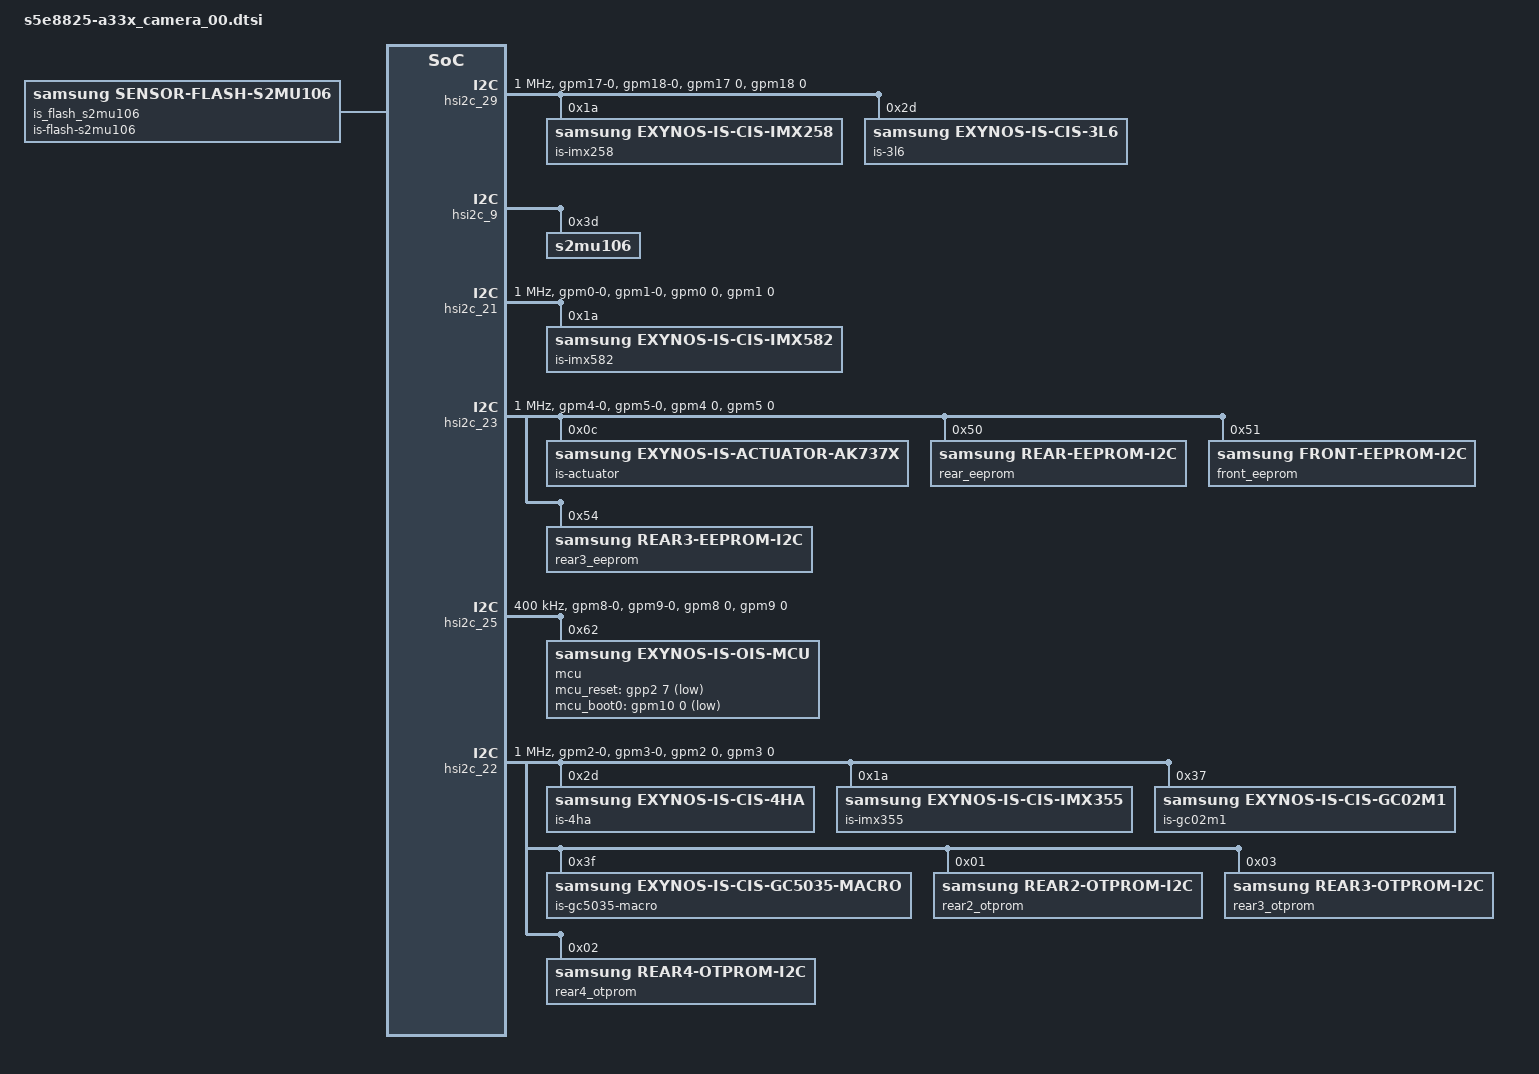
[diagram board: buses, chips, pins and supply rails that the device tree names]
/*
 * Samsung Exynos SoC series Pablo driver
 *
 * Copyright (c) 2021 Samsung Electronics Co., Ltd
 *
 * This program is free software; you can redistribute it and/or modify
 * it under the terms of the GNU General Public License version 2 as
 * published by the Free Software Foundation.
 */

#include <dt-bindings/camera/exynos_is_dt.h>

#include "module_imx582.dtsi"
#include "module_4ha.dtsi"
#include "module_3l6.dtsi"
#include "module_imx355.dtsi"
#include "module_gc02m1.dtsi"
#include "module_imx258.dtsi"
#include "module_gc5035.dtsi"

/ {
	fragment@camera {
		target-path = "/";
		__overlay__ {
			#address-cells = <2>;
			#size-cells = <1>;
			interrupt-parent = <&gic>;

			is_sensor_imx582: is_sensor_imx582@34 {
				power_seq {
					scenario_normal_on {
						40 { pname = "VDDIO_1.8V_CAM"; pin = <PIN_REGULATOR 1 0>; share = <SRT_ACQUIRE SHARED_PIN1 1>; };
					};

					scenario_normal_off {
						80 { pname = "VDDIO_1.8V_CAM"; pin = <PIN_REGULATOR 0 0>; share = <SRT_RELEASE SHARED_PIN1 0>; };
					};

					scenario_ois_factory_on {
						20 { pname = "VDDIO_1.8V_CAM"; pin = <PIN_REGULATOR 1 0>; share = <SRT_ACQUIRE SHARED_PIN1 1>; };
					};

					scenario_ois_factory_off {
						80 { pname = "VDDIO_1.8V_CAM"; pin = <PIN_REGULATOR 0 0>; share = <SRT_RELEASE SHARED_PIN1 0>; };
					};

					scenario_read_rom_on {
						10 { pname = "VDDIO_1.8V_CAM"; pin = <PIN_REGULATOR 1 5000>; share = <SRT_ACQUIRE SHARED_PIN1 1>; };
					};

					scenario_read_rom_off {
						20 { pname = "VDDIO_1.8V_CAM"; pin = <PIN_REGULATOR 0 20000>; share = <SRT_RELEASE SHARED_PIN1 0>; };
					};
				};
			};

			is_sensor_imx355: is_sensor_imx355@20 {
				power_seq {
					scenario_normal_on {
						20 { pname = "VDDIO_1.8V_CAM"; pin = <PIN_REGULATOR 1 2000>; share = <SRT_ACQUIRE SHARED_PIN1 1>; };
						80 { pname = "MCLK"; pin = <PIN_MCLK 1 1000>; gpio = <&gpg0 4 0x1>; share = <SRT_ACQUIRE SHARED_PIN2 1>; };
					};

					scenario_normal_off {
						50 { pname = "VDDIO_1.8V_CAM"; pin = <PIN_REGULATOR 0 0>; share = <SRT_RELEASE SHARED_PIN1 0>; };
						60 { pname = "MCLK"; pin = <PIN_MCLK 0 0>; gpio = <&gpg0 4 0x1>; share = <SRT_RELEASE SHARED_PIN2 0>;};
					};

					scenario_read_rom_on {
						10 { pname = "VDDIO_1.8V_CAM"; pin = <PIN_REGULATOR 1 5000>; share = <SRT_ACQUIRE SHARED_PIN1 1>; };
					};

					scenario_read_rom_off {
						20 { pname = "VDDIO_1.8V_CAM"; pin = <PIN_REGULATOR 0 20000>; share = <SRT_RELEASE SHARED_PIN1 0>; };
					};
				};
			};

			is_sensor_4ha: is_sensor_4ha@5A {
				power_seq {
					scenario_normal_on {
						20 { pname = "VDDIO_1.8V_CAM"; pin = <PIN_REGULATOR 1 2000>; share = <SRT_ACQUIRE SHARED_PIN1 1>; };
						80 { pname = "MCLK"; pin = <PIN_MCLK 1 1000>; gpio = <&gpg0 4 0x1>; share = <SRT_ACQUIRE SHARED_PIN2 1>; };
					};

					scenario_normal_off {
						50 { pname = "VDDIO_1.8V_CAM"; pin = <PIN_REGULATOR 0 0>; share = <SRT_RELEASE SHARED_PIN1 0>; };
						60 { pname = "MCLK"; pin = <PIN_MCLK 0 0>; gpio = <&gpg0 4 0x1>; share = <SRT_RELEASE SHARED_PIN2 0>;};
					};

					scenario_read_rom_on {
						20 { pname = "VDDIO_1.8V_CAM"; pin = <PIN_REGULATOR 1 2000>; share = <SRT_ACQUIRE SHARED_PIN1 1>; };
						80 { pname = "MCLK"; pin = <PIN_MCLK 1 1000>; gpio = <&gpg0 4 0x1>; share = <SRT_ACQUIRE SHARED_PIN2 1>; };
					};

					scenario_read_rom_off {
						50 { pname = "VDDIO_1.8V_CAM"; pin = <PIN_REGULATOR 0 0>; share = <SRT_RELEASE SHARED_PIN1 0>; };
						60 { pname = "MCLK"; pin = <PIN_MCLK 0 0>; gpio = <&gpg0 4 0x1>; share = <SRT_RELEASE SHARED_PIN2 0>;};
					};

				};
			};

			is_sensor_gc02m1: is_sensor_gc02m1@6E {
				power_seq {
					scenario_normal_on {
						20 { pname = "VDDIO_1.8V_CAM"; pin = <PIN_REGULATOR 1 0>; share = <SRT_ACQUIRE SHARED_PIN1 1>; };
						40 { pname = "rcam2_rcam4_ldo_2p8_en"; pin = <PIN_OUTPUT 1 2000>; gpio = <&gpm6 0 0x1>; share = <SRT_ACQUIRE SHARED_PIN4 1>;};
						80 { pname = "MCLK"; pin = <PIN_MCLK 1 500>; gpio = <&gpg0 4 0x1>; share = <SRT_ACQUIRE SHARED_PIN2 1>; };
					};

					scenario_normal_off {
						40 { pname = "rcam2_rcam4_ldo_2p8_en"; pin = <PIN_OUTPUT 0 0>; gpio = <&gpm6 0 0x1>; share = <SRT_RELEASE SHARED_PIN4 0>; };
						50 { pname = "VDDIO_1.8V_CAM"; pin = <PIN_REGULATOR 0 0>; share = <SRT_RELEASE SHARED_PIN1 0>; };
						60 { pname = "MCLK"; pin = <PIN_MCLK 0 200>; gpio = <&gpg0 4 0x1>; share = <SRT_RELEASE SHARED_PIN2 0>;};
					};

					scenario_read_rom_on {
						20 { pname = "VDDIO_1.8V_CAM"; pin = <PIN_REGULATOR 1 0>; share = <SRT_ACQUIRE SHARED_PIN1 1>; };
						40 { pname = "rcam2_rcam4_ldo_2p8_en"; pin = <PIN_OUTPUT 1 2000>; gpio = <&gpm6 0 0x1>; share = <SRT_ACQUIRE SHARED_PIN4 1>;};
						80 { pname = "MCLK"; pin = <PIN_MCLK 1 500>; gpio = <&gpg0 4 0x1>; share = <SRT_ACQUIRE SHARED_PIN2 1>; };
					};

					scenario_read_rom_off {
						40 { pname = "rcam2_rcam4_ldo_2p8_en"; pin = <PIN_OUTPUT 0 0>; gpio = <&gpm6 0 0x1>; share = <SRT_RELEASE SHARED_PIN4 0>; };
						50 { pname = "VDDIO_1.8V_CAM"; pin = <PIN_REGULATOR 0 0>; share = <SRT_RELEASE SHARED_PIN1 0>; };
						60 { pname = "MCLK"; pin = <PIN_MCLK 0 200>; gpio = <&gpg0 4 0x1>; share = <SRT_RELEASE SHARED_PIN2 0>;};
					};

				};
			};

			is_sensor_imx258: is_sensor_imx258@34 {
				power_seq {
					scenario_normal_on {
						30 { pname = "VDDIO_1.8V_CAM"; pin = <PIN_REGULATOR 1 0>; share = <SRT_ACQUIRE SHARED_PIN1 1>; };
						40 { pname = "VDDD_1.2V_SUB"; pin = <PIN_REGULATOR 1 500 1200000>; };
						70 { pname = "MCLK"; pin = <PIN_MCLK 1 500>; gpio = <&gpg0 3 0x1>; share = <SRT_ACQUIRE SHARED_PIN3 1>;};
					};

					scenario_normal_off {
						40 { pname = "MCLK"; pin = <PIN_MCLK 0 0>; gpio = <&gpg0 3 0x1>; share = <SRT_RELEASE SHARED_PIN3 0>; };
						60 { pname = "VDDIO_1.8V_CAM"; pin = <PIN_REGULATOR 0 0>; share = <SRT_RELEASE SHARED_PIN1 0>; };
					};
					scenario_read_rom_on {
						10 { pname = "VDDIO_1.8V_CAM"; pin = <PIN_REGULATOR 1 3000>; share = <SRT_ACQUIRE SHARED_PIN1 1>; };
					};
					scenario_read_rom_off {
						20 { pname = "VDDIO_1.8V_CAM"; pin = <PIN_REGULATOR 0 20000>; share = <SRT_RELEASE SHARED_PIN1 0>; };
					};
				};
			};

			is_sensor_3l6: is_sensor_3l6@5A {
				power_seq {
					scenario_normal_on {
						30 { pname = "VDDIO_1.8V_CAM"; pin = <PIN_REGULATOR 1 0>; share = <SRT_ACQUIRE SHARED_PIN1 1>; };
						40 { pname = "VDDD_1.2V_SUB"; pin = <PIN_REGULATOR 1 1000 1050000>; };
						70 { pname = "MCLK"; pin = <PIN_MCLK 1 500>; gpio = <&gpg0 3 0x1>; share = <SRT_ACQUIRE SHARED_PIN3 1>;};
					};

					scenario_normal_off {
						40 { pname = "MCLK"; pin = <PIN_MCLK 0 0>; gpio = <&gpg0 3 0x1>; share = <SRT_RELEASE SHARED_PIN3 0>; };
						60 { pname = "VDDIO_1.8V_CAM"; pin = <PIN_REGULATOR 0 0>; share = <SRT_RELEASE SHARED_PIN1 0>; };
					};
					scenario_read_rom_on {
						10 { pname = "VDDIO_1.8V_CAM"; pin = <PIN_REGULATOR 1 3000>; share = <SRT_ACQUIRE SHARED_PIN1 1>; };
					};
					scenario_read_rom_off {
						20 { pname = "VDDIO_1.8V_CAM"; pin = <PIN_REGULATOR 0 20000>; share = <SRT_RELEASE SHARED_PIN1 0>; };
					};
				};
			};

			is_sensor_gc5035_macro: is_sensor_gc5035_macro@7E {
				power_seq {
					scenario_normal_on {
						20 { pname = "VDDIO_1.8V_CAM"; pin = <PIN_REGULATOR 1 0>; share = <SRT_ACQUIRE SHARED_PIN1 1>; };
						40 { pname = "rcam2_rcam4_ldo_2p8_en"; pin = <PIN_OUTPUT 1 1000>; gpio = <&gpm6 0 0x1>; share = <SRT_ACQUIRE SHARED_PIN4 1>; };
						80 { pname = "MCLK"; pin = <PIN_MCLK 1 1500>; gpio = <&gpg0 3 0x1>; share = <SRT_ACQUIRE SHARED_PIN3 1>;};
					};

					scenario_normal_off {
						40 { pname = "VDDIO_1.8V_CAM"; pin = <PIN_REGULATOR 0 0>; share = <SRT_RELEASE SHARED_PIN1 0>; };
						50 { pname = "rcam2_rcam4_ldo_2p8_en"; pin = <PIN_OUTPUT 0 0>; gpio = <&gpm6 0 0x1>; share = <SRT_RELEASE SHARED_PIN4 0>; };
						60 { pname = "MCLK"; pin = <PIN_MCLK 0 0>; gpio = <&gpg0 3 0x1>; share = <SRT_RELEASE SHARED_PIN3 0>; };
					};

					scenario_read_rom_on {
						20 { pname = "VDDIO_1.8V_CAM"; pin = <PIN_REGULATOR 1 0>; share = <SRT_ACQUIRE SHARED_PIN1 1>; };
						40 { pname = "rcam2_rcam4_ldo_2p8_en"; pin = <PIN_OUTPUT 1 1000>; gpio = <&gpm6 0 0x1>; share = <SRT_ACQUIRE SHARED_PIN4 1>; };
						80 { pname = "MCLK"; pin = <PIN_MCLK 1 1500>; gpio = <&gpg0 3 0x1>; share = <SRT_ACQUIRE SHARED_PIN3 1>;};
					};

					scenario_read_rom_off {
						40 { pname = "VDDIO_1.8V_CAM"; pin = <PIN_REGULATOR 0 0>; share = <SRT_RELEASE SHARED_PIN1 0>; };
						50 { pname = "rcam2_rcam4_ldo_2p8_en"; pin = <PIN_OUTPUT 0 0>; gpio = <&gpm6 0 0x1>; share = <SRT_RELEASE SHARED_PIN4 0>; };
						60 { pname = "MCLK"; pin = <PIN_MCLK 0 0>; gpio = <&gpg0 3 0x1>; share = <SRT_RELEASE SHARED_PIN3 0>; };
					};

				};
			};

			is_flash_s2mu106: is-flash-s2mu106@0 {
				compatible = "samsung,sensor-flash-s2mu106";
				sensor-module = <&is_sensor_imx582>,<&is_sensor_gc5035_macro>;
				id = <0 3>;
				led_ch = <1 2>;
				status = "okay";
			};

			d_phy_setfile_w_uw: d_phy_setfile_w_uw@00 {
				comm {
					/* bias */
					0  = <0x1000 0 32 0x00000010 IDX_BIA_VAL 0>; /* M_BIAS_CON0 */
					1  = <0x1004 0 32 0x00000110 IDX_BIA_VAL 0>; /* M_BIAS_CON1 */
					2  = <0x1008 0 32 0x00003223 IDX_BIA_VAL 0>; /* M_BIAS_CON2 */
					3  = <0x1010 0 32 0x00000200 IDX_BIA_VAL 0>; /* M_BIAS_CON4 */

					/* clock */
					4 = <0x0004 0 32 0x00001450 IDX_FIX_VAL 0>; /* SC_GNR_CON1 */
					5 = <0x0008 0 32 0x0000000C IDX_FIX_VAL 0>; /* SC_ANA_CON0 */
					6 = <0x000C 0 32 0x0000F343 IDX_FIX_VAL 0>; /* SC_ANA_CON1 */
					7 = <0x0010 0 32 0x00000002 IDX_FIX_VAL 0>; /* SC_ANA_CON2 */
					8 = <0x0014 0 32 0x00008600 IDX_FIX_VAL 0>; /* SC_ANA_CON3 */
					9 = <0x0018 0 32 0x00004000 IDX_FIX_VAL 0>; /* SC_ANA_CON4 */
					10 = <0x0030 0 32 0x00000301 IDX_FIX_VAL 0>; /* SC_TIME_CON0 */
					/* Enable should be set at last. */
					11 = <0x0000 0 32 0x00000001 IDX_FIX_VAL 0>; /* SC_GNR_CON0, Phy clock enable */
				};

				lane {
					0  = <0x0004 0 32 0x00001450 IDX_FIX_VAL 4>; /* SD_GNR_CON1 */
					1  = <0x0008 0 32 0x0000000C IDX_FIX_VAL 4>; /* SD_ANA_CON0 */
					2  = <0x000C 0 32 0x0000F343 IDX_FIX_VAL 4>; /* SD_ANA_CON1 */
					3  = <0x0010 0 32 0x00000002 IDX_FIX_VAL 4>; /* SD_ANA_CON2 */
					4  = <0x0010 8  2 0x00000000 IDX_SKW_DLY 4>; /* SD_ANA_CON2 */
					5  = <0x0014 0 32 0x00008600 IDX_FIX_VAL 4>; /* SD_ANA_CON3 */
					6  = <0x0018 0 32 0x00004000 IDX_FIX_VAL 4>; /* SD_ANA_CON4 */
					7  = <0x0024 0 32 0x00000040 IDX_FIX_VAL 4>; /* SD_ANA_CON7 */
					8  = <0x0030 0  8 0x00000000 IDX_STL_VAL 4>; /* SD_TIME_CON0 */
					9  = <0x0030 8  1 0x00000000 IDX_STL_CLK 4>; /* SD_TIME_CON0 */
					10 = <0x0034 0 32 0x00000003 IDX_FIX_VAL 4>; /* SD_TIME_CON1 */
					11 = <0x0040 0  1 0x00000001 IDX_SKW_CAL 4>; /* SD_DESKEW_CON0 */
					12 = <0x0050 0 32 0x0000081A IDX_FIX_VAL 4>; /* SD_DESKEW_CON4 */
					/* Enable should be set at last. */
					13 = <0x0000 0 32 0x00000001 IDX_FIX_VAL 4>; /* SD_GNR_CON0 , Phy data enable */
				};
			};

			/* REAR CAMERA */
			is_sensor0: is_sensor0@15030000 {
				#address-cells = <1>;
				#size-cells = <1>;
				scenario = <SENSOR_SCENARIO_NORMAL>;	/* Normal, Vision, OIS etc */
				id = <0>;
				csi_ch = <0>;
				status = "okay";
				use_cphy = <0>;

				interrupts = <0 INTREQ__CSIS0 IRQ_TYPE_LEVEL_HIGH>; /*MIPI-CSI0 */
				interrupt-names = "csi";
				phys = <&mipi_phy_csis0_m0s4s4s4s4s2s1 0>;
				phy_setfile = <&d_phy_setfile_w_uw>;
			};

			/* Bokeh CAMERA */
			is_sensor1: is_sensor1@15040000 {
				#address-cells = <1>;
				#size-cells = <1>;
				reg = <0x0 0x15060000 0x1000>, /* MIPI-CSI3 */
					<0x0 0x150F0000 0x10000>; /* PHY: M0S4S4S4S4S2S1 */
				scenario = <SENSOR_SCENARIO_NORMAL>;    /* Normal, Vision, OIS etc */
				id = <2>;
				csi_ch = <3>;
				status = "okay";
				use_cphy = <0>;

				interrupts = <0 INTREQ__CSIS3 IRQ_TYPE_LEVEL_HIGH>; /* MIPI-CSI3 */
				interrupt-names = "csi";
				phys = <&mipi_phy_csis3_m0s4s4s4s4s2s1 0>;
				phy_setfile = <&d_phy_setfile>;
			};

			/* UW CAMERA */
			is_sensor2: is_sensor2@15050000 {
				#address-cells = <1>;
				#size-cells = <1>;
				reg = <0x0 0x15040000 0x1000>, /* MIPI-CSI1 */
					<0x0 0x150F0000 0x10000>; /* PHY: M0S4S4S4S4S2S1 */
				scenario = <SENSOR_SCENARIO_NORMAL>;    /* Normal, Vision, OIS etc */
				id = <4>;
				csi_ch = <1>;
				status = "okay";

				interrupts = <0 INTREQ__CSIS1 IRQ_TYPE_LEVEL_HIGH>; /* MIPI-CSI1 */
				interrupt-names = "csi";
				phys = <&mipi_phy_csis1_m0s4s4s4s4s2s1 0>;
				phy_setfile = <&d_phy_setfile_w_uw>;
			};

			/* Front CAMERA */
			is_sensor4: is_sensor4@15070000 {
				#address-cells = <1>;
				#size-cells = <1>;
				reg = <0x0 0x15050000 0x1000>, /* MIPI-CSI2 */
					<0x0 0x150F0000 0x10000>; /* PHY: M0S4S4S4S4S2S1 */
				scenario = <SENSOR_SCENARIO_NORMAL>;    /* Normal, Vision, OIS etc */
				id = <1>;
				csi_ch = <2>;
				status = "okay";

				interrupts = <0 INTREQ__CSIS2 IRQ_TYPE_LEVEL_HIGH>; /* MIPI-CSI2 */
				phys = <&mipi_phy_csis2_m0s4s4s4s4s2s1 0>;
				phy_setfile = <&d_phy_setfile>;
			};

			/* Macro CAMERA */
			is_sensor3: is_sensor3@15060000 {
				#address-cells = <1>;
				#size-cells = <1>;
				reg = <0x0 0x15070000 0x1000>, /* MIPI-CSI4 */
					<0x0 0x150F0000 0x10000>; /* PHY: M0S4S4S4S4S2S1 */
				scenario = <SENSOR_SCENARIO_NORMAL>;    /* Normal, Vision, OIS etc */
				id = <3>;
				csi_ch = <4>;
				status = "okay";

				interrupts = <0 INTREQ__CSIS4 IRQ_TYPE_LEVEL_HIGH>; /* MIPI-CSI2 */
				phys = <&mipi_phy_csis4_m0s4s4s4s4s2s1 0>;
				phy_setfile = <&phy_setfile_e>;
			};
		}; /* end of __overlay__ */
	}; /* end of fragment */
}; /* end of root */

/***** reference symbol node *****/
/* GPIO_PERI */
&pinctrl_1 {
	/* FRONT I2C */
	hsi2c29_bus_in: hsi2c29-bus-in {
		samsung,pins = "gpm17-0", "gpm18-0";
		samsung,pin-function = <0>; /* 0: Input, 1: Output */
		samsung,pin-pud = <0>;      /* 0: NP, 1: PD, 2: Reserved, 3: PU */
		samsung,pin-drv = <0>;      /* 0: x1, 1: x2, 2: x3, 3: x4 */
	};

	/* REAR I2C */
	hsi2c21_bus_in: hsi2c21-bus-in {
		samsung,pins = "gpm0-0", "gpm1-0";
		samsung,pin-function = <0>; /* 0: Input, 1: Output */
		samsung,pin-pud = <0>;      /* 0: NP, 1: PD, 2: Reserved, 3: PU */
		samsung,pin-drv = <0>;      /* 0: x1, 1: x2, 2: x3, 3: x4 */
	};

	/* BOKEH_UW_MACRO I2C */
	hsi2c22_bus_in: hsi2c22-bus-in {
		samsung,pins = "gpm2-0", "gpm3-0";
		samsung,pin-function = <0>; /* 0: Input, 1: Output */
		samsung,pin-pud = <0>;      /* 0: NP, 1: PD, 2: Reserved, 3: PU */
		samsung,pin-drv = <0>;      /* 0: x1, 1: x2, 2: x3, 3: x4 */
	};

	/* AF_EEP I2C */
	hsi2c23_bus_in: hsi2c23-bus-in {
		samsung,pins = "gpm4-0", "gpm5-0";
		samsung,pin-function = <0>; /* 0: Input, 1: Output */
		samsung,pin-pud = <0>;      /* 0: NP, 1: PD, 2: Reserved, 3: PU */
		samsung,pin-drv = <0>;      /* 0: x1, 1: x2, 2: x3, 3: x4 */
	};

	/* MCU I2C */
	hsi2c25_bus: hsi2c25-bus {
		samsung,pins = "gpm8-0", "gpm9-0";
		samsung,pin-function = <2>;
		samsung,pin-pud = <3>;
		samsung,pin-drv = <0>;
	};

	ldo_gpio_en: ldo-gpio-en {
		samsung,pins = "gpm6-0", "gpm11-0", "gpm19-0";
		samsung,pin-function = <0>; /* 0: Input, 1: Output */
		samsung,pin-pud = <1>;      /* 0: NP, 1: PD, 2: Reserved, 3: PU */
		samsung,pin-con-pdn = <2>;  /* 0: Output0, 1: Output1, 2: Input, 3:Prev */
		samsung,pin-pud-pdn = <1>;  /* 0: NP, 1: PD, 2: Reserved, 3: PU */
	};

	fcam_rcam4_rst_n: fcam-rcam4-rst-n {
		samsung,pins = "gpm13-0", "gpm20-0";
		samsung,pin-function = <1>; /* 0: Input, 1: Output */
		samsung,pin-pud = <1>;      /* 0: NP, 1: PD, 2: Reserved, 3: PU */
		samsung,pin-con-pdn = <0>;  /* 0: Output0, 1: Output1, 2: Input, 3:Prev */
		samsung,pin-pud-pdn = <1>;  /* 0: NP, 1: PD, 2: Reserved, 3: PU */
	};
};

&hsi2c_29 {
	#address-cells = <1>;
	#size-cells = <0>;
	gpios = <&gpm17 0 0 &gpm18 0 0>;
	status = "okay";
	clock-frequency = <1000000>;
	samsung,reset-before-trans;
	samsung,fast-plus-mode;

	pinctrl-names = "default","on_i2c","off_i2c";
	pinctrl-0 = <&hsi2c29_bus_in>;
	pinctrl-1 = <&hsi2c29_bus>;
	pinctrl-2 = <&hsi2c29_bus_in>;

	is-imx258@1A {
		compatible = "samsung,exynos-is-cis-imx258";
		sensor-module = <&is_sensor_imx258>;
		reg = <0x1A>; /* 1 bit right shift */
		id = <1>; /* matching is_sensor id */
		sensor_f_number = <220>;	/* f number 2.2 */
		setfile = "setB";
		use_initial_ae; /* for initial AE of face unlock */
		status = "okay";
	};

	is-3l6@5A{
		compatible = "samsung,exynos-is-cis-3l6";
		sensor-module = <&is_sensor_3l6>;
		reg = <0x2D>; /* 1 bit right shift */
		id = <1>; /* matching is_sensor id */
		sensor_f_number = <220>;	/* f number 2.2 */
		use_initial_ae; /* for initial AE of face unlock */
		setfile = "setB";
		status = "okay";
	};
};

&pinctrl_4 {
	rcam3_ldo_en: rcam3-ldo-en {
		samsung,pins = "gpf0-1";
		samsung,pin-function = <0>; /* 0: Input, 1: Output */
		samsung,pin-pud = <1>;      /* 0: NP, 1: PD, 2: Reserved, 3: PU */
		samsung,pin-con-pdn = <2>;  /* 0: Output0, 1: Output1, 2: Input, 3:Prev */
		samsung,pin-pud-pdn = <1>;  /* 0: NP, 1: PD, 2: Reserved, 3: PU */
	};
};

&pinctrl_6 {
	flash_off_state: flash_off_state {
		samsung,pins = "gpp2-3";
		samsung,pin-con-pdn = <3>;  /* 0: Output0, 1: Output1, 2: Input, 3:Prev */
		samsung,pin-pud-pdn = <0>;  /* 0: NP, 1: PD, 2: Reserved, 3: PU */
	};

	cam_flash_en: cam-flash-en {
		samsung,pins = "gpp2-2", "gpp2-3";
		samsung,pin-function = <1>; /* 0: Input, 1: Output */
		samsung,pin-pud = <1>;      /* 0: NP, 1: PD, 2: Reserved, 3: PU */
		samsung,pin-con-pdn = <3>;  /* 0: Output0, 1: Output1, 2: Input, 3:Prev */
		samsung,pin-pud-pdn = <0>;  /* 0: NP, 1: PD, 2: Reserved, 3: PU */
	};

	mcu_n_rst: mcu-n-rst {
		samsung,pins = "gpp2-7";
		samsung,pin-function = <1>; /* 0: Input, 1: Output */
		samsung,pin-pud = <3>;      /* 0: NP, 1: PD, 2: Reserved, 3: PU */
		samsung,pin-con-pdn = <0>;  /* 0: Output0, 1: Output1, 2: Input, 3:Prev */
		samsung,pin-pud-pdn = <3>;  /* 0: NP, 1: PD, 2: Reserved, 3: PU */
	};

	rcam1_rcam2_rcam3_rst_n: rcam1-rcam2-rcam3-rst-n {
		samsung,pins = "gpg1-0", "gpg1-1", "gpg1-2";
		samsung,pin-function = <1>; /* 0: Input, 1: Output */
		samsung,pin-pud = <1>;      /* 0: NP, 1: PD, 2: Reserved, 3: PU */
		samsung,pin-con-pdn = <0>;  /* 0: Output0, 1: Output1, 2: Input, 3:Prev */
		samsung,pin-pud-pdn = <1>;  /* 0: NP, 1: PD, 2: Reserved, 3: PU */
	};
};

/* FLASH-LED : leds-s2mu106 */
&hsi2c_9 {
	s2mu106@3D {
		reg = <0x3D>;
		pinctrl-names = "default","flash_suspend";
		pinctrl-1 = <&flash_off_state>;
		flash_led {
			default_current = <50>;
			max_current = <200>;
			default_timer = <0>;
			flash-gpio = <&gpp2 2 0>;
			torch-gpio = <&gpp2 3 0>;

			flash_current = <1500>;
			preflash_current = <220>;
			torch_current = <150>;
			movie_current = <200>;
			factory_current = <350>;
			flashlight_current = <50 80 110 140 170>;
			status = "okay";
		};
	};
};

&hsi2c_21 {
	#address-cells = <1>;
	#size-cells = <0>;
	gpios = <&gpm0 0 0 &gpm1 0 0>;
	status = "okay";
	clock-frequency = <1000000>;
	samsung,reset-before-trans;
	samsung,fast-plus-mode;

	pinctrl-names = "default","on_i2c","off_i2c";
	pinctrl-0 = <&hsi2c21_bus_in>;
	pinctrl-1 = <&hsi2c21_bus>;
	pinctrl-2 = <&hsi2c21_bus_in>;

	is-imx582@1A {
		compatible = "samsung,exynos-is-cis-imx582";
		sensor-module = <&is_sensor_imx582>;
		reg = <0x1A>; /* 1 bit right shift */
		id = <0>; /* matching is_sensor id */
		sensor_f_number = <180>;	/* f number 1.8 */
		setfile = "setB";
		status = "okay";
	};
};

&hsi2c_23 {
	#address-cells = <1>;
	#size-cells = <0>;
	gpios = <&gpm4 0 0 &gpm5 0 0>;
	status = "okay";
	clock-frequency = <1000000>;
	samsung,reset-before-trans;
	samsung,fast-plus-mode;

	pinctrl-names = "default","on_i2c","off_i2c";
	pinctrl-0 = <&hsi2c23_bus_in>;
	pinctrl-1 = <&hsi2c23_bus>;
	pinctrl-2 = <&hsi2c23_bus_in>;

	is-actuator@0C {
		compatible = "samsung,exynos-is-actuator-ak737x";
		sensor-module = <&is_sensor_imx582>;
		reg = <0x0C>;
		id = <0>; /* matching is_sensor id */
		/* DW9825A */
		vendor_product_id = <0xF3 0x0E 0xF3 0x00 0xF3 0x19 0xF3 0x13>;
		vendor_first_pos = <960>;  /* 12bits */
		vendor_first_delay = <2000>;
		vendor_use_sleep_mode;
		vendor_use_standby_mode; /* with vendor_use_sleep_mode */
		/* delay settings for DW9825A */
		vendor_sleep_to_standby_delay = <3000>;
		vendor_active_to_standby_delay = <300>;
		status = "okay";
	};

	rear_eeprom@50 { /* Rear Wide eeprom */
		compatible = "samsung,rear-eeprom-i2c";
		reg = <0x50>;

		rom_power_position = <0>;
		rom_size = <0x4190>;
		cal_map_es_version = <1>;
		camera_module_es_version = "A";
		/* skip_cal_loading;*/

		/* 0 header */
		header_crc_check_list = <0x0000 0x00FB 0x00FC>;
		
		/*
		 * 1 Cross talk
		 * 2 AF
		 * 3 PDAF
		 * 4 AWB
		 * 5 LSC
		 */
		crc_check_list = <0x01D0 0x103B 0x103C
				0x14A0 0x151B 0x151C
				0x1520 0x1CDB 0x1CDC
				0x2570 0x258B 0x258C
				0x2590 0x298B 0x298C>;

		/* Master */
		rom_header_version_start_addr = <0x6E>;
		rom_header_cal_data_start_addr = <0x100>;
		rom_header_cal_map_ver_start_addr = <0x90>;
		rom_header_project_name_start_addr = <0x98>;
		rom_header_module_id_addr = <0xAE>; /* 0xA8 + reserved bytes */
		rom_header_sensor_id_addr = <0xB8>;
		rom_awb_master_addr = <0x2570>;

		rom_af_cal_addr = <0x14AC 0x14A0>; /*AF position <Near Far> */

		/* Rear Crosstalk Cal data */
		rom_xtc_cal_data_start_addr = <0x01D0>;
		rom_xtc_cal_data_size = <0x0E6C>;
		rom_xtc_cal_data_addr_list = <0x01D0 0x0350>;

		/* standard cal */
		use_standard_cal;
		rom_standard_cal_start_addr = <0x2570>;
		rom_standard_cal_end_addr = <0x298F>;
		rom_standard_cal_sec2lsi_end_addr = <0x2BAF>;
		rom_awb_start_addr = <0x2570>;
		rom_awb_end_addr = <0x2577>;
		rom_shading_start_addr = <0x2590>;
		rom_shading_end_addr = <0x298B>;
		rom_factory_start_addr = <0x2990>;
		rom_factory_end_addr = <0x2BAF>;
		rom_awb_sec2lsi_start_addr = <0x2570>;
		rom_awb_sec2lsi_end_addr = <0x2577>;
		rom_awb_sec2lsi_checksum_addr = <0x257C>;
		rom_awb_sec2lsi_checksum_len = <0xC>;
		rom_shading_sec2lsi_start_addr = <0x2580>;
		rom_shading_sec2lsi_end_addr = <0x3F67>;
		rom_shading_sec2lsi_checksum_addr = <0x3F6C>;
		rom_shading_sec2lsi_checksum_len = <0x19EC>;
		rom_factory_sec2lsi_start_addr = <0x3F70>;

		/* sensor ois - xgg ygg xcoef ycoef xsupper ysupper calmark */
		rom_ois_list = <0x0180 0x0184 0x018C 0x018E 0x01A8 0x01AA 0x01A0>;
	};

	front_eeprom@51 { /* Front EEPROM */
		compatible = "samsung,front-eeprom-i2c";
		reg = <0x51>;
		rom_power_position = <1>;
		rom_size = <0x1CA8>;
		cal_map_es_version = <1>;
		camera_module_es_version = "A";
		/* skip_cal_loading; */

		/* 0 header */
		header_crc_check_list = <0x0000 0x004B 0x004C>;
		/* 0 cross-talk */
		/* 1 standard cal */
		crc_check_list = <0x0050 0x0485 0x0486>;
		/* Master */
		rom_header_version_start_addr = <0x0A>;
		rom_header_cal_data_start_addr = <0x050>;
		rom_header_cal_map_ver_start_addr = <0x16>;
		rom_header_project_name_start_addr = <0x1E>;
		rom_header_module_id_addr = <0x2E>; /* 0x28 + reserved bytes */
		rom_header_sensor_id_addr = <0x38>;
		rom_awb_master_addr = <0x0068>;

		/* standard cal */
		use_standard_cal;
		rom_standard_cal_start_addr = <0x0068>;
		rom_standard_cal_end_addr = <0x1A67>;
		rom_standard_cal_sec2lsi_end_addr = <0x1CA7>;
		rom_awb_start_addr = <0x0068>;
		rom_awb_end_addr = <0x006F>;
		rom_shading_start_addr = <0x007C>;
		rom_shading_end_addr = <0x0485>;
		rom_factory_start_addr = <0x048A>;
		rom_factory_end_addr = <0x06C9>;
		rom_awb_sec2lsi_start_addr = <0x0068>;
		rom_awb_sec2lsi_end_addr = <0x0073>;
		rom_awb_sec2lsi_checksum_addr = <0x0074>;
		rom_awb_sec2lsi_checksum_len = <0xC>;
		rom_shading_sec2lsi_start_addr = <0x0078>;
		rom_shading_sec2lsi_end_addr = <0x1A63>;
		rom_shading_sec2lsi_checksum_addr = <0x1A64>;
		rom_shading_sec2lsi_checksum_len = <0x19EC>;
		rom_factory_sec2lsi_start_addr = <0x1AA8>;
	};

	rear3_eeprom@54 { /* Ultra wide eeprom */
		compatible = "samsung,rear3-eeprom-i2c";
		reg = <0x54>;

		rom_power_position = <4>;
		rom_size = <0x1C9D>;
		cal_map_es_version = <1>;
		camera_module_es_version = "A";
		/* skip_cal_loading;*/

		/* 0 header */
		header_crc_check_list = <0x0000 0x004B 0x004C>;
		/* 0 module */
		crc_check_list = <0x0050 0x0485 0x0486>;
		/* Master */
		rom_header_version_start_addr = <0xA>;
		rom_header_cal_data_start_addr = <0x50>;
		rom_header_cal_map_ver_start_addr = <0x16>;
		rom_header_project_name_start_addr = <0x1E>;
		rom_header_module_id_addr = <0x2E>; /* 0x28 + reserved bytes */
		rom_header_sensor_id_addr = <0x38>;
		rom_awb_master_addr = <0x0068>;

		/* standard cal */
		use_standard_cal;
		rom_standard_cal_start_addr = <0x0068>;
		rom_standard_cal_end_addr = <0x1A67>;
		rom_standard_cal_sec2lsi_end_addr = <0x1CA7>;
		rom_awb_start_addr = <0x0068>;
		rom_awb_end_addr = <0x006F>;
		rom_shading_start_addr = <0x007C>;
		rom_shading_end_addr = <0x0485>;
		rom_factory_start_addr = <0x1AA8>;
		rom_factory_end_addr = <0x1CA7>;
		rom_awb_sec2lsi_start_addr = <0x0068>;
		rom_awb_sec2lsi_end_addr = <0x006F>;
		rom_awb_sec2lsi_checksum_addr = <0x0074>;
		rom_awb_sec2lsi_checksum_len = <0xC>;
		rom_shading_sec2lsi_start_addr = <0x0078>;
		rom_shading_sec2lsi_end_addr = <0x1A5F>;
		rom_shading_sec2lsi_checksum_addr = <0x1A64>;
		rom_shading_sec2lsi_checksum_len = <0x19EC>;
		rom_factory_sec2lsi_start_addr = <0x1AA8>;
	};
};

&hsi2c_25 {
	#address-cells = <1>;
	#size-cells = <0>;
	gpios = <&gpm8 0 0 &gpm9 0 0>;
	status = "okay";
	clock-frequency = <400000>;
	samsung,scl-clk-stretching;
	samsung,reset-before-trans;

	pinctrl-names = "default","on_i2c","off_i2c";
	pinctrl-0 = <&hsi2c25_bus>;
	pinctrl-1 = <&hsi2c25_bus>;
	pinctrl-2 = <&hsi2c25_bus>;

	mcu@C4 {
		compatible = "samsung,exynos-is-ois-mcu";
		reg = <0x62>;
		id = <0>;
		gpio_mcu_reset = <&gpp2 7 0x1>;
		gpio_mcu_boot0 = <&gpm10 0 0x1>;
		/* wx_pole, wy_pole, gyro_orientation, tx_pole, ty_pole */
		ois_gyro_list = <0x00 0x01 0x00>;
	};
};

&hsi2c_22 {
	#address-cells = <1>;
	#size-cells = <0>;
	gpios = <&gpm2 0 0 &gpm3 0 0>;
	status = "okay";
	clock-frequency = <1000000>;
	samsung,reset-before-trans;
	samsung,fast-plus-mode;

	pinctrl-names = "default","on_i2c","off_i2c";
	pinctrl-0 = <&hsi2c22_bus_in>;
	pinctrl-1 = <&hsi2c22_bus>;
	pinctrl-2 = <&hsi2c22_bus_in>;

	is-4ha@5A{
		compatible = "samsung,exynos-is-cis-4ha";
		sensor-module = <&is_sensor_4ha>;
		reg = <0x2D>; /* 1 bit right shift */
		id = <4>; /* matching is_sensor id */
		sensor_f_number = <220>;	/* f number 2.2 */
		setfile = "setB";
		status = "okay";
	};

	is-imx355@34 {
		compatible = "samsung,exynos-is-cis-imx355";
		sensor-module = <&is_sensor_imx355>;
		reg = <0x1A>; /* 1 bit right shift */
		id = <4>; /* matching is_sensor id */
		sensor_f_number = <220>;	/* f number 2.2 */
		setfile = "setB";
		status = "okay";
	};

	is-gc02m1@6E {
		compatible = "samsung,exynos-is-cis-gc02m1";
		sensor-module = <&is_sensor_gc02m1>;
		reg = <0x37>; /* 1 bit right shift */
		id = <2>; /* matching is_sensor id */
		sensor_f_number = <240>;	/* f number 2.4 */
		setfile = "setB";
		status = "okay";
	};

	is-gc5035-macro@7E {
		compatible = "samsung,exynos-is-cis-gc5035-macro";
		sensor-module = <&is_sensor_gc5035_macro>;
		reg = <0x3F>; /* 1 bit right shift */
		id = <3>; /* matching is_sensor id */
		sensor_f_number = <240>;	/* f number 2.4 */
		setfile = "setB";
		status = "okay";
	};

	rear2_otprom@6E { /* Bokeh otprom */
		compatible = "samsung,rear2-otprom-i2c";
		reg = <0x01>;

		rom_power_position = <2>;
		rom_size = <0x11>;

		cal_map_es_version = <1>;
		camera_module_es_version = "A";
		/* skip_cal_loading;*/

		/* 0 header */
		header_crc_check_list = <0x0 0xC 0xD>;
		/* Master */
		rom_header_version_start_addr = <0x00>;
	};

	rear3_otprom@5A { /* Ultra wide dualized otprom */
		compatible = "samsung,rear3-otprom-i2c";
		reg = <0x03>;

		rom_power_position = <4>;
		rom_size = <0x1C99>;
		cal_map_es_version = <1>;
		camera_module_es_version = "A";
		/* skip_cal_loading;*/

		/* 20210824_A33_5G_CAM2(UW_8M_4HA)_OTP_Rear_Cal map V008.001_QC_LSI_MTK_Map */
		/* 0 header */
		header_crc_check_list                                     = <0x0 0x4B 0x4C>;
		/* 0 module */
		crc_check_list                                            = <0x50 0x485 0x486>;
		/* Master */
		rom_header_version_start_addr                             = <0x000A>;
		rom_header_cal_data_start_addr                            = <0x0000>;
		rom_header_cal_map_ver_start_addr                         = <0x0016>;
		rom_header_project_name_start_addr                        = <0x1E>;
		rom_header_module_id_addr                                 = <0x002E>; /* 0x28 + reserved bytes */
		rom_header_sensor_id_addr                                 = <0x0038>;
		rom_awb_master_addr                                       = <0x0068>;

		/* standard cal */
		use_standard_cal;
		rom_standard_cal_start_addr                               = <0x0050>;
		rom_standard_cal_end_addr                                 = <0x0489>;
		rom_standard_cal_sec2lsi_end_addr                         = <0x06A2>;
		rom_awb_start_addr                                        = <0x0068>;
		rom_awb_end_addr                                          = <0x007B>;
		rom_shading_start_addr                                    = <0x007C>;
		rom_shading_end_addr                                      = <0x0485>;
		rom_factory_start_addr                                    = <0x048A>;
		rom_factory_end_addr                                      = <0x06C8>;
		rom_awb_sec2lsi_start_addr                                = <0x005C>;
		rom_awb_sec2lsi_end_addr                                  = <0x0068>;
		rom_awb_sec2lsi_checksum_addr                             = <0x0073>;
		rom_awb_sec2lsi_checksum_len                              = <0x000C>;
		rom_shading_sec2lsi_start_addr                            = <0x0078>;
		rom_shading_sec2lsi_end_addr                              = <0x1A63>;
		rom_shading_sec2lsi_checksum_addr                         = <0x1A64>;
		rom_shading_sec2lsi_checksum_len                          = <0x19EC>;
		rom_factory_sec2lsi_start_addr                            = <0x1A68>;
	};

	rear4_otprom@7E { /* Macro otprom */
		compatible = "samsung,rear4-otprom-i2c";
		reg = <0x02>;

		rom_power_position = <6>;
		rom_size = <0x1A50>;
		cal_map_es_version = <1>;
 		camera_module_es_version = "A";
		/* skip_cal_loading;*/

		/* 0 header */
		header_crc_check_list = <0x0 0x4B 0x4C>;
		/* 0 module */
		crc_check_list = <0x50 0xEF 0xF0>;
		/* Master */
		rom_header_version_start_addr = <0x0A>;
		rom_header_cal_data_start_addr = <0x50>;
		rom_header_cal_map_ver_start_addr = <0x16>;
		rom_header_project_name_start_addr = <0x1E>;
		rom_header_module_id_addr = <0x2E>; /* 0x28 + reserved bytes */
		rom_header_sensor_id_addr = <0x38>;
		rom_awb_master_addr = <0x50>;

		use_standard_cal;
		rom_standard_cal_start_addr = <0x50>;
		rom_standard_cal_end_addr = <0xF3>;
		rom_standard_cal_sec2lsi_end_addr = <0xF3>;
		rom_awb_start_addr = <0x50>;
		rom_awb_end_addr = <0x57>;
		rom_shading_start_addr = <0x60>;
		rom_shading_end_addr = <0xE8>;
		rom_awb_sec2lsi_start_addr = <0x50>;
		rom_awb_sec2lsi_end_addr = <0x57>;
		rom_awb_sec2lsi_checksum_addr = <0x5C>;
		rom_awb_sec2lsi_checksum_len = <0xC>;
		rom_shading_sec2lsi_start_addr = <0x60>;
		rom_shading_sec2lsi_end_addr = <0x1A47>;
		rom_shading_sec2lsi_checksum_addr = <0x1A4C>;
		rom_shading_sec2lsi_checksum_len = <0x19EC>;
	};
};

&exynos_is {
	pinctrl-names = "default","sleep";
	pinctrl-0 = <&ldo_gpio_en &fcam_rcam4_rst_n &rcam3_ldo_en &cam_flash_en &mcu_n_rst &rcam1_rcam2_rcam3_rst_n>;
	pinctrl-1 = <>;

	vender {
		use_module_check;
		use_ois;
		check_sensor_vendor;
		ois_sensor_index = <0>;
		aperture_sensor_index = <0>;
		mcu_sensor_index = <0>;

		is_vendor_sensor_count = <5>;
		max_supported_camera = <6>;
		supported_cameraId = <0 1 23 52 58 60>;
		/*
		* Wide(0)
		* Front(1)
		* U Wide(2)
		* Front 80(3) - not available for factory
		* Front Secure(5) - not available for factory
		* DUAL_REAR_PORTRAIT_WIDE(23)
		* Bokeh(52)
		* Rear_UW(58)
		* Macro(60)
		*/

		/* sysfs camera id */
		max_camera_num = <7>;
		sensor_id { /* sensor position = <sensor_id> */
			0 = <120>;	/* IMX582 */
			1 = <110 59>;	/* IMX258, S5K3L6*/
			2 = <214>;	/* GC02M1 */
			4 = <128 39 >;	/* IMX355, S5K4HA */
			6 = <210>;	/* GC5035 */
		};
		camera_info0 {			/* 0 : sysfs rear */
			internal_id = <0>;	/* 0 : wide */
			isp = <0>;		/* 0 : INT, 1 : EXT, 2 : SOC */
			cal_memory = <2>;	/* 0 : N, 1 : FROM, 2 : EEPROM, 3 : OTP */
			read_version = <0>;	/* 0 : SYSFS, 1 : CAMON */
			core_voltage = <0>;	/* 0 : N, 1 : Y */
			upgrade = <0>;		/* 0 : N, 1 : SYSFS , 2 : CAMON */
			fw_write = <0>;		/* 0 : N, 1 : OS, 2 : SD, 3 : ALL */
			fw_dump = <0>;		/* 0 : N, 1 : Y */
			companion = <0>;	/* 0 : N, 1 : Y */
			ois = <1>;		/* 0 : N, 1 : Y */
			valid = <1>;		/* 0 : INVALID, 1 : VALID */
		};
		camera_info1 {			/* 1 : sysfs front */
			internal_id = <1>;	/* 1 : front master */
			isp = <0>;		/* 0 : INT, 1 : EXT, 2 : SOC */
			cal_memory = <2>;	/* 0 : N, 1 : FROM, 2 : EEPROM, 3 : OTP */
			read_version = <0>;	/* 0 : SYSFS, 1 : CAMON */
			core_voltage = <0>;	/* 0 : N, 1 : Y */
			upgrade = <0>;		/* 0 : N, 1 : SYSFS, 2 : CAMON */
			fw_write = <0>;		/* 0 : N, 1 : OS, 2 : SD, 3 : ALL */
			fw_dump = <0>;		/* 0 : N, 1 : Y */
			companion = <0>;	/* 0 : N, 1 : Y */
			ois = <0>;		/* 0 : N, 1 : Y */
			valid = <1>;		/* 0 : INVALID, 1 : VALID */
		};
		camera_info2 {			/* 2 : sysfs rear2 */
			internal_id = <2>;	/* 2 : ultra wide */
			isp = <0>;		/* 0 : INT, 1 : EXT, 2 : SOC */
			cal_memory = <2>;	/* 0 : N, 1 : FROM, 2 : EEPROM, 3 : OTP */
			read_version = <0>;	/* 0 : SYSFS, 1 : CAMON */
			core_voltage = <0>;	/* 0 : N, 1 : Y */
			upgrade = <0>;		/* 0 : N, 1 : SYSFS, 2 : CAMON */
			fw_write = <0>;		/* 0 : N, 1 : OS, 2 : SD, 3 : ALL */
			fw_dump = <0>;		/* 0 : N, 1 : Y */
			companion = <0>;	/* 0 : N, 1 : Y */
			ois = <0>;		/* 0 : N, 1 : Y */
			valid = <1>;		/* 0 : INVALID, 1 : VALID */
		};
		camera_info4 {			/* 4 : sysfs rear3 */
			internal_id = <4>;	/* 4 : bokeh */
			isp = <0>;		/* 0 : INT, 1 : EXT, 2 : SOC */
			cal_memory = <3>;	/* 0 : N, 1 : FROM, 2 : EEPROM, 3 : OTP */
			read_version = <0>;	/* 0 : SYSFS, 1 : CAMON */
			core_voltage = <0>;	/* 0 : N, 1 : Y */
			upgrade = <0>;		/* 0 : N, 1 : SYSFS, 2 : CAMON */
			fw_write = <0>;		/* 0 : N, 1 : OS, 2 : SD, 3 : ALL */
			fw_dump = <0>;		/* 0 : N, 1 : Y */
			companion = <0>;	/* 0 : N, 1 : Y */
			ois = <0>;		/* 0 : N, 1 : Y */
			valid = <1>;		/* 0 : INVALID, 1 : VALID */
		};
		camera_info6 {			/* 6 : sysfs rear4 */
			internal_id = <6>;	/* 6 : MACRO */
			isp = <0>;		/* 0 : INT, 1 : EXT, 2 : SOC */
			cal_memory = <3>;	/* 0 : N, 1 : FROM, 2 : EEPROM, 3 : OTP */
			read_version = <0>;	/* 0 : SYSFS, 1 : CAMON */
			core_voltage = <0>;	/* 0 : N, 1 : Y */
			upgrade = <0>;		/* 0 : N, 1 : SYSFS, 2 : CAMON */
			fw_write = <0>;		/* 0 : N, 1 : OS, 2 : SD, 3 : ALL */
			fw_dump = <0>;		/* 0 : N, 1 : Y */
			companion = <0>;	/* 0 : N, 1 : Y */
			ois = <0>;		/* 0 : N, 1 : Y */
			valid = <1>;		/* 0 : INVALID, 1 : VALID   */
		};
	};

	lic_offsets {
		/* 3AA = <setA lic offset0, setA lic offset1, set A trigger context */
		/*		setB lic offset0, setB lic offset1, set B trigger context> */
		/* 4672: 4640x4352 */
		/* 5824: 5804x4352 */
		3AA = <5461 10922 0 5461 10922 0>;
	};

	buffer_info {
		ypp_buf_max_width = <4608>;	/* defalut value : 5760 */
	};

	is_dvfs {
		#define CPU_CL0	"0-5"
		#define CPU_CL1	"6-7"
		#define CPU_ALL	"0-7"

		table0 {
			desc = "dvfs table v0.2";

			default_cam = <1>;
			default_isp = <1>;
			default_mif = <1>;
			default_int = <2>;
			default_cpu = CPU_CL0;

			rear_single_photo_mif = <3>;
			rear_single_photo_int = <4>;
			rear_single_photo_cpu = CPU_CL0;

			rear_single_photo_full_mif = <2>;
			rear_single_photo_full_int = <3>;
			rear_single_photo_full_cpu = CPU_CL0;

			rear_single_vt_photo_mif = <2>;
			rear_single_vt_photo_int = <3>;
			rear_single_vt_photo_cpu = CPU_CL0;

			rear_single_video_fhd30_isp = <3>;
			rear_single_video_fhd30_mif = <2>;
			rear_single_video_fhd30_int = <2>;
			rear_single_video_fhd30_cpu = CPU_CL0;

			rear_single_videohdr_mif = <0>;
			rear_single_videohdr_int = <0>;
			rear_single_videohdr_cpu = CPU_CL0;

			rear_single_video_fhd60_isp = <3>;
			rear_single_video_fhd60_mif = <1>;
			rear_single_video_fhd60_int = <2>;
			rear_single_video_fhd60_cpu = CPU_CL0;

			rear_single_video_uhd30_isp = <2>;
			rear_single_video_uhd30_mif = <0>;
			rear_single_video_uhd30_int = <2>;
			rear_single_video_uhd30_cpu = CPU_CL0;

			rear_single_video_uhd60_mif = <0>;
			rear_single_video_uhd60_int = <0>;
			rear_single_video_uhd60_cpu = CPU_CL0;

			rear_single_capture_isp = <1>;
			rear_single_capture_mif = <0>;
			rear_single_capture_int = <1>;
			rear_single_capture_cpu = CPU_CL0;

			rear_single_video_fhd120_mif = <0>;
			rear_single_video_fhd120_int = <3>;
			rear_single_video_fhd120_cpu = CPU_CL0;

			rear_single_video_fhd240_mif = <0>;
			rear_single_video_fhd240_int = <0>;
			rear_single_video_fhd240_hpg = <8>;
			rear_single_video_fhd240_cpu = CPU_CL0;

			rear_single_video_fhd480_mif = <0>;
			rear_single_video_fhd480_int = <0>;
			rear_single_video_fhd480_cpu = CPU_CL0;

			rear_single_video_hd30_isp = <3>;
			rear_single_video_hd30_mif = <2>;
			rear_single_video_hd30_int = <2>;
			rear_single_video_hd30_cpu = CPU_CL0;

			rear_single_video_hd240_mif = <0>;
			rear_single_video_hd240_int = <1>;
			rear_single_video_hd240_hpg = <8>;
			rear_single_video_hd240_cpu = CPU_CL0;

			rear_single_video_hd480_mif = <0>;
			rear_single_video_hd480_int = <0>;
			rear_single_video_hd480_hpg = <8>;
			rear_single_video_hd480_cpu = CPU_CL0;

			rear_single_ssm_isp = <0>;
			rear_single_ssm_mif = <0>;
			rear_single_ssm_int = <0>;
			rear_single_ssm_cpu = CPU_CL0;

			rear_single_video_8k24_mif = <0>;
			rear_single_video_8k24_int = <0>;
			rear_single_video_8k24_cpu = CPU_CL0;

			rear_single_video_8k30_mif = <0>;
			rear_single_video_8k30_int = <0>;
			rear_single_video_8k30_cpu = CPU_CL0;

			rear_single_remosaic_photo_mif = <0>;
			rear_single_remosaic_photo_int = <0>;
			rear_single_remosaic_photo_cpu = CPU_CL0;

			rear_single_remosaic_capture_isp = <0>;
			rear_single_remosaic_capture_mif = <0>;
			rear_single_remosaic_capture_int = <0>;
			rear_single_remosaic_capture_cpu = CPU_CL0;

			rear_single_fastae_mif = <0>;
			rear_single_fastae_int = <0>;
			rear_single_fastae_cpu = CPU_CL0;

			rear_dual_wide_tele_photo_mif = <3>;
			rear_dual_wide_tele_photo_int = <4>;
			rear_dual_wide_tele_photo_cpu = CPU_CL0;

			rear_dual_wide_ultrawide_photo_mif = <0>;
			rear_dual_wide_ultrawide_photo_int = <0>;
			rear_dual_wide_ultrawide_photo_cpu = CPU_CL0;

			rear_dual_wide_ultrawide_video_fhd30_mif = <0>;
			rear_dual_wide_ultrawide_video_fhd30_int = <0>;
			rear_dual_wide_ultrawide_video_fhd30_cpu = CPU_CL0;

			rear_dual_wide_ultrawide_video_uhd30_mif = <0>;
			rear_dual_wide_ultrawide_video_uhd30_int = <0>;
			rear_dual_wide_ultrawide_video_uhd30_cpu = CPU_CL0;

			rear_dual_wide_ultrawide_capture_isp = <0>;
			rear_dual_wide_ultrawide_capture_mif = <0>;
			rear_dual_wide_ultrawide_capture_int = <0>;
			rear_dual_wide_ultrawide_capture_cpu = CPU_CL0;

			triple_photo_mif = <0>;
			triple_photo_int = <0>;
			triple_photo_cpu = CPU_CL0;

			triple_video_fhd30_mif = <0>;
			triple_video_fhd30_int = <0>;
			triple_video_fhd30_cpu = CPU_CL0;

			triple_video_uhd30_mif = <0>;
			triple_video_uhd30_int = <0>;
			triple_video_uhd30_cpu = CPU_CL0;

			triple_video_fhd60_mif = <0>;
			triple_video_fhd60_int = <0>;
			triple_video_fhd60_cpu = CPU_CL0;

			triple_video_uhd60_mif = <0>;
			triple_video_uhd60_int = <0>;
			triple_video_uhd60_cpu = CPU_CL0;

			triple_capture_isp = <0>;
			triple_capture_mif = <0>;
			triple_capture_int = <0>;
			triple_capture_cpu = CPU_CL0;

			front_single_photo_mif = <3>;
			front_single_photo_int = <4>;
			front_single_photo_cpu = CPU_CL0;

			front_single_photo_full_mif = <2>;
			front_single_photo_full_int = <3>;
			front_single_photo_full_cpu = CPU_CL0;

			front_single_video_fhd30_mif = <3>;
			front_single_video_fhd30_int = <4>;
			front_single_video_fhd30_cpu = CPU_CL0;

			front_single_video_uhd30_mif = <0>;
			front_single_video_uhd30_int = <2>;
			front_single_video_uhd30_cpu = CPU_CL0;

			front_single_video_fhd60_mif = <1>;
			front_single_video_fhd60_int = <3>;
			front_single_video_fhd60_cpu = CPU_CL0;

			front_single_video_uhd60_mif = <0>;
			front_single_video_uhd60_int = <0>;
			front_single_video_uhd60_cpu = CPU_CL0;

			front_single_video_hd30_mif = <4>;
			front_single_video_hd30_int = <4>;
			front_single_video_hd30_cpu = CPU_CL0;

			front_single_capture_isp = <1>;
			front_single_capture_mif = <0>;
			front_single_capture_int = <1>;
			front_single_capture_cpu = CPU_CL0;

			front_single_vt_mif = <2>;
			front_single_vt_int = <3>;
			front_single_vt_cpu = CPU_CL0;

			front_single_secure_isp = <6>;
			front_single_secure_mif = <2>;
			front_single_secure_int = <3>;
			front_single_secure_cpu = CPU_CL0;

			front_single_video_fhd120_mif = <0>;
			front_single_video_fhd120_int = <0>;
			front_single_video_fhd120_cpu = CPU_CL0;

			pip_dual_photo_mif = <0>;
			pip_dual_photo_int = <0>;
			pip_dual_photo_cpu = CPU_CL0;

			pip_dual_capture_isp = <0>;
			pip_dual_capture_mif = <0>;
			pip_dual_capture_int = <0>;
			pip_dual_capture_cpu = CPU_CL0;

			pip_dual_video_fhd30_mif = <0>;
			pip_dual_video_fhd30_int = <0>;
			pip_dual_video_fhd30_cpu = CPU_CL0;

			ext_rear_single_cam = <0>;
			ext_rear_single_isp = <0>;
			ext_rear_single_mif = <0>;
			ext_rear_single_int = <0>;
			ext_rear_single_cpu = CPU_CL0;

			ext_front_secure_cam = <0>;
			ext_front_secure_isp = <0>;
			ext_front_secure_mif = <0>;
			ext_front_secure_int = <0>;
			ext_front_secure_cpu = CPU_CL0;

			max_cam = <0>;
			max_isp = <0>;
			max_mif = <0>;
			max_int = <0>;
			max_cpu = CPU_CL0;
		};
	};
};
